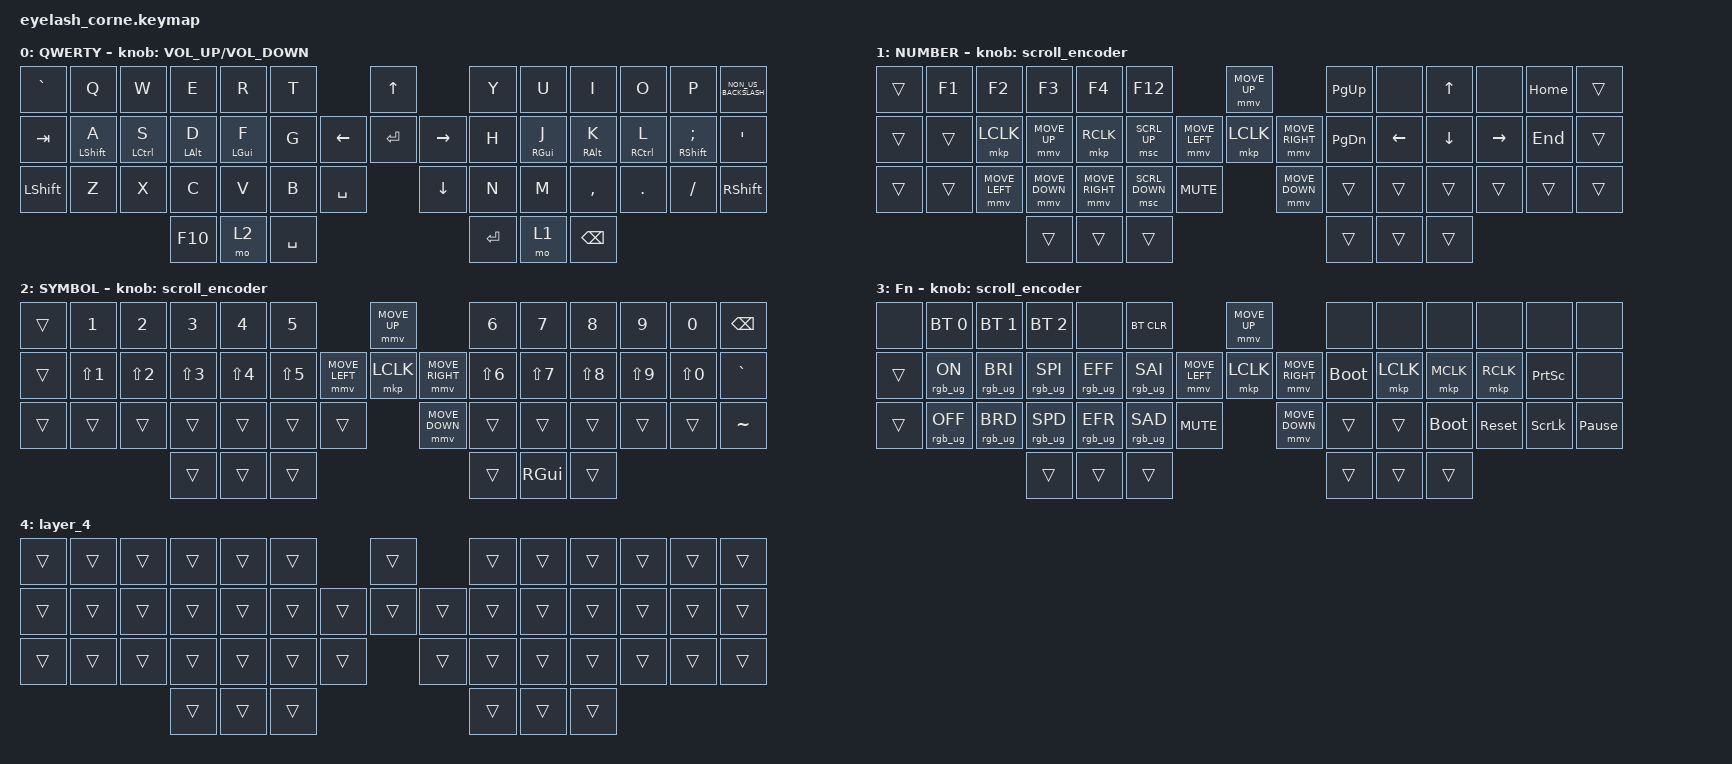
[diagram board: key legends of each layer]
#define ZMK_POINTING_DEFAULT_MOVE_VAL 1200  // 600
#define ZMK_POINTING_DEFAULT_SCRL_VAL 25   // 10

#include <input/processors.dtsi>
#include <zephyr/dt-bindings/input/input-event-codes.h>
#include <behaviors.dtsi>
#include <dt-bindings/zmk/bt.h>
#include <dt-bindings/zmk/keys.h>
#include <dt-bindings/zmk/pointing.h>
#include <dt-bindings/zmk/rgb.h>

&mmv_input_listener { input-processors = <&zip_xy_scaler 2 1>; };

&msc_input_listener { input-processors = <&zip_scroll_scaler 2 1>; };

&msc {
    acceleration-exponent = <1>;      // 0
    time-to-max-speed-ms = <100>;       // 300
    delay-ms = <0>;                   // 0
};

&mmv {
    time-to-max-speed-ms = <500>;
    acceleration-exponent = <1>;
    trigger-period-ms = <16>;
};

/ {
    behaviors {
        td0: td0 {
            compatible = "zmk,behavior-tap-dance";
            display-name = "Shift/Caps Lock Tap Dance";
            #binding-cells = <0>;
            bindings = <&kp LEFT_SHIFT>, <&kp CAPS>;
        };

        hold_tap: hold_tap {
            compatible = "zmk,behavior-hold-tap";
            label = "HOLD_TAP";
            #binding-cells = <2>;
            tapping-term-ms = <200>;
            bindings = <&kp>, <&kp>;

            flavor = "tap-preferred";
            quick-tap-ms = <200>;
            require-prior-idle-ms = <200>;
        };
    };

    rgb_encoder: rgb_encoder {
        compatible = "zmk,behavior-sensor-rotate";
        #sensor-binding-cells = <0>;
        bindings = <&rgb_ug RGB_BRI>, <&rgb_ug RGB_BRD>;
    };

    scroll_encoder: scroll_encoder {
        compatible = "zmk,behavior-sensor-rotate";
        #sensor-binding-cells = <0>;
        bindings = <&msc SCRL_DOWN>, <&msc SCRL_UP>;

        tap-ms = <100>;
    };

    combos {
        compatible = "zmk,combos";

        gt {
            bindings = <&kp GREATER_THAN>;
            key-positions = <8 9>;
        };

        lt {
            bindings = <&kp LESS_THAN>;
            key-positions = <3 4>;
        };

        dash {
            bindings = <&kp MINUS>;
            key-positions = <16 17>;
        };

        plus {
            bindings = <&kp PLUS>;
            key-positions = <31 32>;
        };

        under {
            bindings = <&kp UNDERSCORE>;
            key-positions = <23 24>;
        };

        equal {
            bindings = <&kp EQUAL>;
            key-positions = <37 38>;
        };

        l_bracket {
            bindings = <&kp LEFT_BRACKET>;
            key-positions = <3 2>;
        };

        r_bracket {
            bindings = <&kp RIGHT_BRACKET>;
            key-positions = <9 10>;
        };

        l_brace {
            bindings = <&kp LEFT_BRACE>;
            key-positions = <16 15>;
        };

        r_brace {
            bindings = <&kp RIGHT_BRACE>;
            key-positions = <24 25>;
        };

        l_parenthesis {
            bindings = <&kp LEFT_PARENTHESIS>;
            key-positions = <30 31>;
        };

        r_parenthesis {
            bindings = <&kp RIGHT_PARENTHESIS>;
            key-positions = <39 38>;
        };

        esc {
            bindings = <&kp ESCAPE>;
            key-positions = <1 0>;
        };

        layer_3_right {
            bindings = <&mo 3>;
            key-positions = <45 46>;
        };

        layer_3 {
            bindings = <&mo 3>;
            key-positions = <44 43>;
        };

        caps {
            bindings = <&caps_word>;
            key-positions = <4 8>;
        };

        lan {
            bindings = <&kp F10>;
            key-positions = <3 9>;
        };
    };

    keymap {
        compatible = "zmk,keymap";

        default_layer {
            display-name = "QWERTY";
            bindings = <
&kp GRAVE  &kp Q                   &kp W              &kp E                 &kp R             &kp T                             &kp UP                &kp Y      &kp U             &kp I             &kp O              &kp P                            &kp NON_US_BACKSLASH
&kp TAB    &hold_tap LEFT_SHIFT A  &hold_tap LCTRL S  &hold_tap LEFT_ALT D  &hold_tap LGUI F  &kp G                   &kp LEFT  &kp ENTER  &kp RIGHT  &kp H      &hold_tap RGUI J  &hold_tap RALT K  &hold_tap RCTRL L  &hold_tap RIGHT_SHIFT SEMICOLON  &kp SQT
&kp LSHFT  &kp Z                   &kp X              &kp C                 &kp V             &kp B      &kp SPACE              &kp DOWN              &kp N      &kp M             &kp COMMA         &kp DOT            &kp FSLH                         &kp RSHFT
                                                      &kp F10               &mo 2             &kp SPACE                                               &kp ENTER  &mo 1             &kp BACKSPACE
            >;

            sensor-bindings = <&inc_dec_kp C_VOLUME_UP C_VOLUME_DOWN>;
        };

        lower_layer {
            display-name = "NUMBER";
            bindings = <
&trans  &kp F1  &kp F2          &kp F3          &kp F4           &kp F12                                       &mmv MOVE_UP                     &kp PAGE_UP    &none     &kp UP_ARROW  &none      &kp HOME  &trans
&trans  &trans  &mkp LCLK       &mmv MOVE_UP    &mkp RCLK        &msc SCRL_UP                  &mmv MOVE_LEFT  &mkp LCLK       &mmv MOVE_RIGHT  &kp PAGE_DOWN  &kp LEFT  &kp DOWN      &kp RIGHT  &kp END   &trans
&trans  &trans  &mmv MOVE_LEFT  &mmv MOVE_DOWN  &mmv MOVE_RIGHT  &msc SCRL_DOWN  &kp C_MUTE                    &mmv MOVE_DOWN                   &trans         &trans    &trans        &trans     &trans    &trans
                                &trans          &trans           &trans                                                                         &trans         &trans    &trans
            >;

            sensor-bindings = <&scroll_encoder>;
        };

        raise_layer {
            display-name = "SYMBOL";
            bindings = <
&trans  &kp N1      &kp N2      &kp N3      &kp N4      &kp N5                                &mmv MOVE_UP                     &kp N6      &kp N7         &kp N8      &kp N9      &kp N0      &kp BSPC
&trans  &kp LS(N1)  &kp LS(N2)  &kp LS(N3)  &kp LS(N4)  &kp LS(N5)            &mmv MOVE_LEFT  &mkp LCLK       &mmv MOVE_RIGHT  &kp LS(N6)  &kp LS(N7)     &kp LS(N8)  &kp LS(N9)  &kp LS(N0)  &kp GRAVE
&trans  &trans      &trans      &trans      &trans      &trans      &trans                    &mmv MOVE_DOWN                   &trans      &trans         &trans      &trans      &trans      &kp TILDE
                                &trans      &trans      &trans                                                                 &trans      &kp RIGHT_GUI  &trans
            >;

            sensor-bindings = <&scroll_encoder>;
        };

        layer_3 {
            display-name = "Fn";
            bindings = <
&none   &bt BT_SEL 0     &bt BT_SEL 1     &bt BT_SEL 2     &none            &bt BT_CLR                                     &mmv MOVE_UP                     &none        &none      &none        &none       &none            &none
&trans  &rgb_ug RGB_ON   &rgb_ug RGB_BRI  &rgb_ug RGB_SPI  &rgb_ug RGB_EFF  &rgb_ug RGB_SAI                &mmv MOVE_LEFT  &mkp LCLK       &mmv MOVE_RIGHT  &bootloader  &mkp LCLK  &mkp MCLK    &mkp RCLK   &kp PRINTSCREEN  &none
&trans  &rgb_ug RGB_OFF  &rgb_ug RGB_BRD  &rgb_ug RGB_SPD  &rgb_ug RGB_EFR  &rgb_ug RGB_SAD  &kp C_MUTE                    &mmv MOVE_DOWN                   &trans       &trans     &bootloader  &sys_reset  &kp SCROLLLOCK   &kp PAUSE_BREAK
                                          &trans           &trans           &trans                                                                          &trans       &trans     &trans
            >;

            sensor-bindings = <&scroll_encoder>;
        };

        layer_4 {
            bindings = <
&trans  &trans  &trans  &trans  &trans  &trans                    &trans          &trans  &trans  &trans  &trans  &trans  &trans
&trans  &trans  &trans  &trans  &trans  &trans            &trans  &trans  &trans  &trans  &trans  &trans  &trans  &trans  &trans
&trans  &trans  &trans  &trans  &trans  &trans  &trans            &trans          &trans  &trans  &trans  &trans  &trans  &trans
                        &trans  &trans  &trans                                    &trans  &trans  &trans
            >;
        };
    };
};
